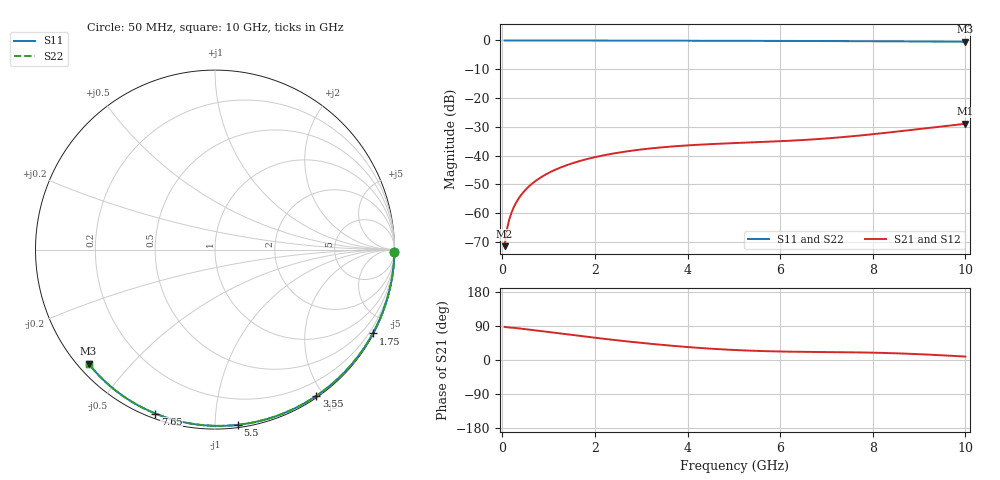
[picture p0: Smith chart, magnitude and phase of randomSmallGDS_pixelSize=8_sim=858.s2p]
! freq	dB(S11)	phase(S11)	dB(S12)	phase(S12)
!  dB(S21)	phase(S21)	dB(S22)	phase(S22)
!S-par simulation data
#  GHz  S  DB  R 50
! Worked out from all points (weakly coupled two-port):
!   200 points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, 50 MHz to 10 GHz, reference 50 ohm
!   highest |S21| = -28.94 dB at 10 GHz (marker M1); lowest = -71.4 dB at 50 MHz (marker M2)
!   lowest |S11| = -0.5 dB at 10 GHz (marker M3), VSWR 37.94, Z = 1.51 - j19.2 ohm
!   |S11| at or under -10 dB: nowhere
!   |S22| runs from -0.5 to 0.0 dB; largest |S21 - S12| = 0
!   S11 on the Smith chart (normalised r, x): 50 MHz: open; 1.75 GHz: 0.04, -4.01; 3.55 GHz: 0.02, -1.91; 5.5 GHz: 0.02, -1.14; 7.65 GHz: 0.02, -0.70; 10 GHz: 0.03, -0.38
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0.05  -0.00 -0.8  -71.43 87.5  -71.43 87.5  -0.00 -0.8
0.1  -0.00 -1.6  -65.60 86.5  -65.60 86.5  -0.00 -1.6
0.15  -0.00 -2.4  -62.18 86.0  -62.18 86.0  -0.00 -2.4
0.2  -0.00 -3.3  -59.73 85.5  -59.73 85.5  -0.00 -3.3
0.25  -0.00 -4.1  -57.83 84.9  -57.83 84.9  -0.00 -4.1
0.35  -0.00 -5.7  -54.94 83.5  -54.94 83.5  -0.00 -5.7
0.5  -0.01 -8.1  -51.88 81.4  -51.88 81.4  -0.01 -8.1
0.7  -0.01 -11.3  -49.01 78.4  -49.01 78.4  -0.01 -11.3
1  -0.02 -16.1  -46.01 73.7  -46.01 73.7  -0.02 -16.1
1.35  -0.03 -21.7  -43.55 68.4  -43.55 68.4  -0.03 -21.7
1.75  -0.04 -28.0  -41.52 62.4  -41.52 62.4  -0.04 -28.0
2.5  -0.05 -39.6  -38.98 51.7  -38.98 51.7  -0.05 -39.6
3.4  -0.07 -53.1  -37.18 40.5  -37.18 40.5  -0.07 -53.1
3.55  -0.07 -55.3  -36.97 38.8  -36.97 38.8  -0.07 -55.3
4.3  -0.09 -66.1  -36.16 31.5  -36.16 31.5  -0.09 -66.1
5.05  -0.12 -76.5  -35.61 26.2  -35.61 26.2  -0.12 -76.6
5.5  -0.13 -82.6  -35.33 24.0  -35.33 24.0  -0.13 -82.6
6.7  -0.19 -98.2  -34.37 21.3  -34.37 21.3  -0.19 -98.2
7.65  -0.25 -110.0  -33.12 20.1  -33.12 20.1  -0.25 -110.1
8.35  -0.30 -118.5  -31.95 18.3  -31.95 18.3  -0.30 -118.5
9.2  -0.37 -128.6  -30.40 14.2  -30.40 14.2  -0.37 -128.6
10  -0.46 -137.9  -28.94 9.0  -28.94 9.0  -0.46 -138.0
